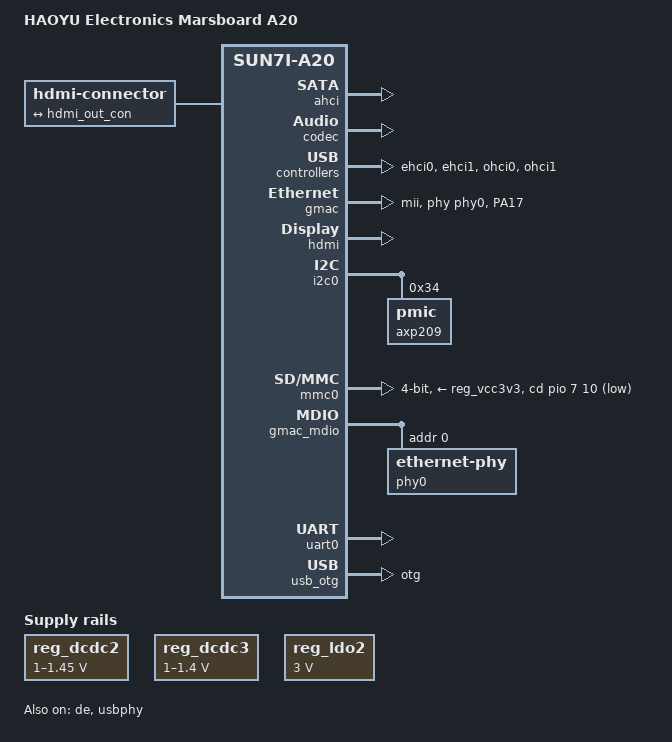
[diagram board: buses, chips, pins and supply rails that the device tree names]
// SPDX-License-Identifier: (GPL-2.0+ OR MIT)
/*
 * Copyright 2021 Conley Lee
 * Conley Lee <conleylee@foxmail.com>
 */

/dts-v1/;
#include "sun7i-a20.dtsi"
#include "sunxi-common-regulators.dtsi"

#include <dt-bindings/gpio/gpio.h>
#include <dt-bindings/interrupt-controller/irq.h>

/ {
	model = "HAOYU Electronics Marsboard A20";
	compatible = "haoyu,a20-marsboard", "allwinner,sun7i-a20";

	aliases {
		serial0 = &uart0;
	};

	chosen {
		stdout-path = "serial0:115200n8";
	};

	hdmi-connector {
		compatible = "hdmi-connector";
		type = "a";

		port {
			hdmi_con_in: endpoint {
				remote-endpoint = <&hdmi_out_con>;
			};
		};
	};
};

&ahci {
	target-supply = <&reg_ahci_5v>;
	status = "okay";
};

&codec {
	status = "okay";
};

&cpu0 {
	cpu-supply = <&reg_dcdc2>;
};

&de {
	status = "okay";
};

&ehci0 {
	status = "okay";
};

&ehci1 {
	status = "okay";
};

&gmac {
	pinctrl-names = "default";
	pinctrl-0 = <&gmac_mii_pins>, <&gmac_txerr>;
	phy-handle = <&phy0>;
	phy-mode = "mii";
	status = "okay";
};

&hdmi {
	status = "okay";
};

&hdmi_out {
	hdmi_out_con: endpoint {
		remote-endpoint = <&hdmi_con_in>;
	};
};

&i2c0 {
	status = "okay";

	axp209: pmic@34 {
		reg = <0x34>;
		interrupt-parent = <&nmi_intc>;
		interrupts = <0 IRQ_TYPE_LEVEL_LOW>;
	};
};

&mmc0 {
	vmmc-supply = <&reg_vcc3v3>;
	bus-width = <4>;
	cd-gpios = <&pio 7 10 GPIO_ACTIVE_LOW>; /* PH10 */
	status = "okay";
};

&gmac_mdio {
	phy0: ethernet-phy@0 {
		reg = <0>;
	};
};

&ohci0 {
	status = "okay";
};

&ohci1 {
	status = "okay";
};

&otg_sram {
	status = "okay";
};

&pio {
	gmac_txerr: gmac-txerr-pin {
		pins = "PA17";
		function = "gmac";
	};
};

&reg_ahci_5v {
	status = "okay";
};

#include "axp209.dtsi"

&ac_power_supply {
	status = "okay";
};

&reg_dcdc2 {
	regulator-always-on;
	regulator-min-microvolt = <1000000>;
	regulator-max-microvolt = <1450000>;
	regulator-name = "vdd-cpu";
};

&reg_dcdc3 {
	regulator-always-on;
	regulator-min-microvolt = <1000000>;
	regulator-max-microvolt = <1400000>;
	regulator-name = "vdd-int-dll";
};

&reg_ldo1 {
	regulator-name = "vdd-rtc";
};

&reg_ldo2 {
	regulator-always-on;
	regulator-min-microvolt = <3000000>;
	regulator-max-microvolt = <3000000>;
	regulator-name = "avcc";
};

&reg_usb1_vbus {
	status = "okay";
};

&reg_usb2_vbus {
	status = "okay";
};

&uart0 {
	pinctrl-names = "default";
	pinctrl-0 = <&uart0_pb_pins>;
	status = "okay";
};

&usb_otg {
	dr_mode = "otg";
	status = "okay";
};

&usbphy {
	usb0_id_det-gpios = <&pio 7 4 (GPIO_ACTIVE_HIGH | GPIO_PULL_UP)>; /* PH4 */
	usb1_vbus-supply = <&reg_usb1_vbus>;
	usb2_vbus-supply = <&reg_usb2_vbus>;
	status = "okay";
};
